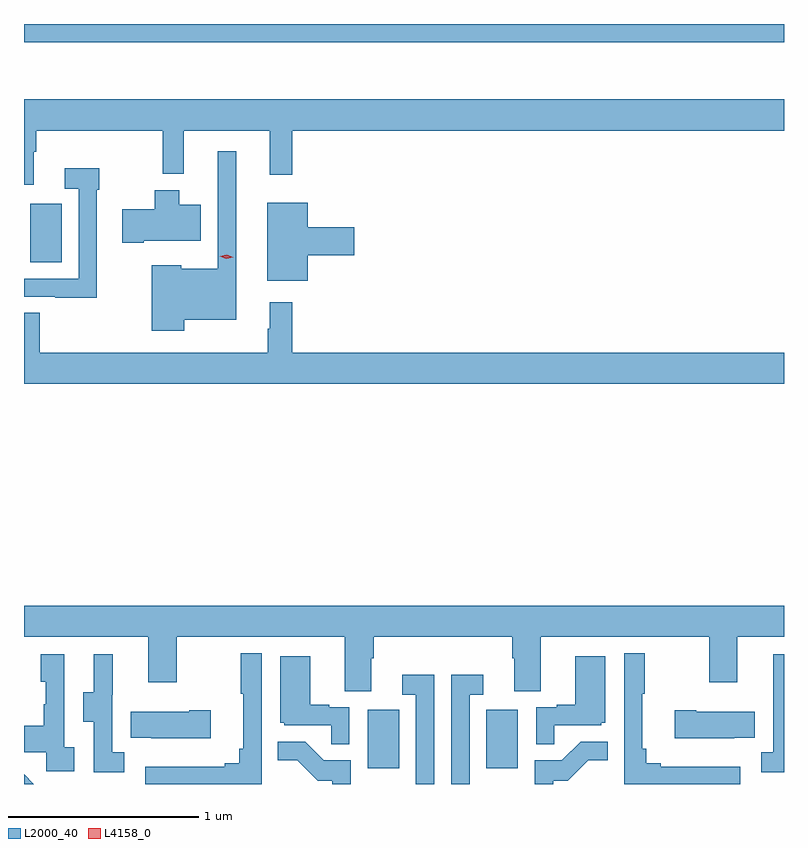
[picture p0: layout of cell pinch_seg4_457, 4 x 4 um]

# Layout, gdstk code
import gdstk
lib = gdstk.Library(unit=1e-6, precision=1e-09)
def R(c, l, rs):  # rectangles x0, y0, x1, y1
    for r in rs: c.add(gdstk.rectangle(r[:2], r[2:], *l))
def P(c, l, *ps):  # polygons
    for p in ps: c.add(gdstk.Polygon(p, *l))
L2000_40 = (2000, 40)
L4158_0 = (4158, 0)

pinch_seg4_457 = lib.new_cell('pinch_seg4_457')
R(pinch_seg4_457, L2000_40, [(901.07,776.148,901.234,776.455), (901.694,776.148,901.858,776.455), (899.294,778.812,899.458,779.119), (899.26,779.97,903.26,780.065)])
P(pinch_seg4_457, L2000_40, [(899.311,779.392),(899.324,779.392),(899.324,779.504),(899.991,779.504),(899.991,779.276),(900.101,779.276),(900.101,779.504),(900.554,779.504),(900.554,779.271),(900.671,779.271),(900.671,779.504),(903.26,779.504),(903.26,779.668),(899.26,779.668),(899.26,779.218),(899.311,779.218)],
  [(900.103,778.508),(900.376,778.508),(900.376,779.395),(900.279,779.395),(900.279,778.777),(900.087,778.777),(900.087,778.795),(899.933,778.795),(899.933,778.451),(900.103,778.451)],
  [(899.644,779.192),(899.656,779.192),(899.656,779.305),(899.475,779.305),(899.475,779.199),(899.547,779.199),(899.547,778.725),(899.26,778.725),(899.26,778.629),(899.425,778.629),(899.425,778.624),(899.644,778.624)],
  [(899.89,778.925),(900.19,778.925),(900.19,779.113),(900.076,779.113),(900.076,779.191),(899.947,779.191),(899.947,779.091),(899.778,779.091),(899.778,778.913),(899.89,778.913)],
  [(900.754,778.847),(900.997,778.847),(900.997,778.994),(900.754,778.994),(900.754,779.125),(900.539,779.125),(900.539,778.715),(900.754,778.715)],
  [(903.26,778.336),(900.671,778.336),(900.671,778.6),(900.554,778.6),(900.554,778.46),(900.543,778.46),(900.543,778.336),(899.342,778.336),(899.342,778.544),(899.26,778.544),(899.26,778.172),(903.26,778.172)],
  [(901.087,776.728),(901.1,776.728),(901.1,776.84),(901.829,776.84),(901.829,776.728),(901.841,776.728),(901.841,776.554),(901.981,776.554),(901.981,776.84),(902.866,776.84),(902.866,776.601),(903.013,776.601),(903.013,776.84),(903.26,776.84),(903.26,777.004),(899.26,777.004),(899.26,776.84),(899.915,776.84),(899.915,776.601),(900.063,776.601),(900.063,776.84),(900.947,776.84),(900.947,776.554),(901.087,776.554)],
  [(900.51,776.752),(900.402,776.752),(900.402,776.539),(900.413,776.539),(900.413,776.251),(900.394,776.251),(900.394,776.174),(900.317,776.174),(900.317,776.155),(899.898,776.155),(899.898,776.065),(900.51,776.065)],
  [(903.03,776.155),(902.611,776.155),(902.611,776.174),(902.534,776.174),(902.534,776.251),(902.515,776.251),(902.515,776.539),(902.527,776.539),(902.527,776.752),(902.418,776.752),(902.418,776.065),(903.03,776.065)],
  [(899.524,776.258),(899.472,776.258),(899.472,776.749),(899.348,776.749),(899.348,776.604),(899.374,776.604),(899.374,776.486),(899.364,776.486),(899.364,776.371),(899.26,776.371),(899.26,776.231),(899.376,776.231),(899.376,776.133),(899.524,776.133)],
  [(903.26,776.749),(903.203,776.749),(903.203,776.535),(903.204,776.535),(903.204,776.231),(903.141,776.231),(903.141,776.128),(903.26,776.128)],
  [(899.788,776.231),(899.724,776.231),(899.724,776.535),(899.726,776.535),(899.726,776.749),(899.627,776.749),(899.627,776.547),(899.573,776.547),(899.573,776.392),(899.628,776.392),(899.628,776.128),(899.788,776.128)],
  [(900.972,776.469),(900.866,776.469),(900.866,776.482),(900.766,776.482),(900.766,776.737),(900.608,776.737),(900.608,776.388),(900.63,776.388),(900.63,776.373),(900.877,776.373),(900.877,776.275),(900.972,776.275)],
  [(902.051,776.373),(902.298,776.373),(902.298,776.388),(902.32,776.388),(902.32,776.737),(902.162,776.737),(902.162,776.482),(902.063,776.482),(902.063,776.469),(901.956,776.469),(901.956,776.275),(902.051,776.275)],
  [(901.419,776.641),(901.251,776.641),(901.251,776.535),(901.323,776.535),(901.323,776.065),(901.419,776.065)],
  [(901.605,776.535),(901.678,776.535),(901.678,776.641),(901.509,776.641),(901.509,776.065),(901.605,776.065)],
  [(902.999,776.309),(903.107,776.309),(903.107,776.446),(902.797,776.446),(902.797,776.454),(902.685,776.454),(902.685,776.306),(902.999,776.306)],
  [(900.244,776.454),(900.131,776.454),(900.131,776.446),(899.821,776.446),(899.821,776.309),(899.929,776.309),(899.929,776.306),(900.244,776.306)],
  [(900.981,776.19),(900.837,776.19),(900.739,776.288),(900.595,776.288),(900.595,776.189),(900.699,776.189),(900.806,776.082),(900.883,776.082),(900.883,776.065),(900.981,776.065)],
  [(902.046,776.082),(902.122,776.082),(902.229,776.189),(902.333,776.189),(902.333,776.288),(902.189,776.288),(902.091,776.19),(901.947,776.19),(901.947,776.065),(902.046,776.065)],
  [(899.26,776.117),(899.26,776.065),(899.312,776.065)])
P(pinch_seg4_457, L4158_0, [(900.324,778.83),(900.29,778.842),(900.289,778.842),(900.29,778.842),(900.326,778.85),(900.361,778.838),(900.361,778.838),(900.361,778.838)])

lib.write_gds('pinch_seg4_457.gds')
